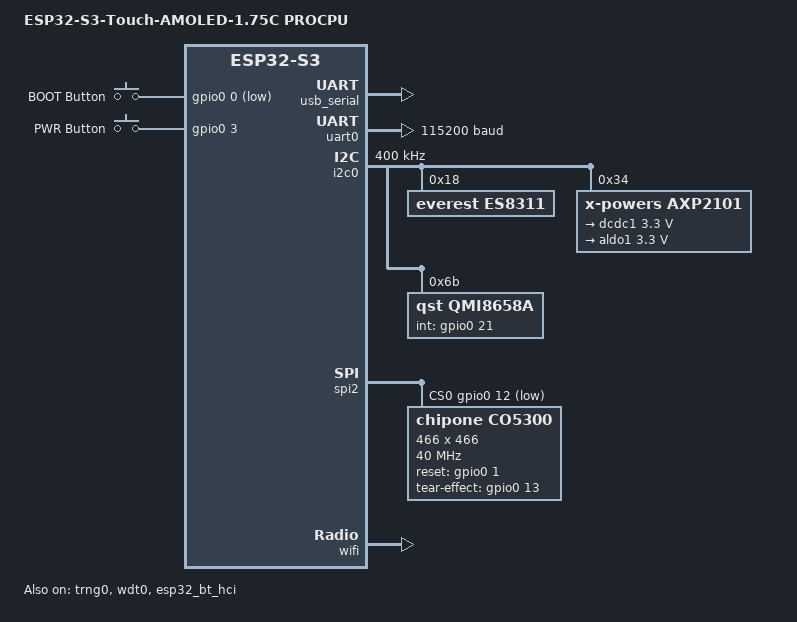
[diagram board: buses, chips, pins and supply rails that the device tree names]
/*
 * Copyright (c) 2026 Hassan Naeem
 * SPDX-License-Identifier: Apache-2.0
 */

/dts-v1/;
#include <espressif/esp32s3/esp32s3.dtsi>
#include "esp32s3_touch_amoled_1_75c-pinctrl.dtsi"
#include <zephyr/dt-bindings/display/panel.h>
#include <zephyr/dt-bindings/input/input-event-codes.h>
#include <espressif/partitions_0x0_amp_32M.dtsi>

/ {
	compatible = "waveshare,esp32-s3-touch-amoled-1.75c";
	model = "ESP32-S3-Touch-AMOLED-1.75C PROCPU";

	aliases {
		i2c-0 = &i2c0;
		sw0 = &button_boot;
		sw1 = &button_pwr;
		uart-0 = &uart0;
		watchdog0 = &wdt0;
		accel0 = &qmi8658a;
		fuel-gauge0 = &fuel_gauge;
	};

	chosen {
		zephyr,sram = &sram1;
		zephyr,console = &usb_serial;
		zephyr,shell-uart = &usb_serial;
		zephyr,flash = &flash0;
		zephyr,code-partition = &slot0_partition;
		zephyr,display = &co5300;
		zephyr,bt-hci = &esp32_bt_hci;
	};

	buttons {
		compatible = "gpio-keys";

		button_boot: button_boot {
			gpios = <&gpio0 0 (GPIO_PULL_UP | GPIO_ACTIVE_LOW)>;
			label = "BOOT Button";
			zephyr,code = <INPUT_KEY_0>;
		};

		/* The PWR key reaches GPIO3 through a BSS138, so it reads high while held. */
		button_pwr: button_pwr {
			gpios = <&gpio0 3 GPIO_ACTIVE_HIGH>;
			label = "PWR Button";
			zephyr,code = <INPUT_KEY_1>;
		};
	};
};

&flash0 {
	reg = <0x0 DT_SIZE_M(32)>;
	ranges = <0x0 0x0 DT_SIZE_M(32)>;
};

&psram0 {
	size = <DT_SIZE_M(8)>;
};

&gpio0 {
	status = "okay";
};

&gpio1 {
	status = "okay";
};

&usb_serial {
	status = "okay";
};

&uart0 {
	current-speed = <115200>;
	pinctrl-0 = <&uart0_default>;
	pinctrl-names = "default";
	status = "okay";
};

&i2c0 {
	clock-frequency = <I2C_BITRATE_FAST>;
	pinctrl-0 = <&i2c0_default>;
	pinctrl-names = "default";
	status = "okay";

	/* ES8311 mono codec driving the speaker */
	es8311: es8311@18 {
		compatible = "everest,es8311";
		reg = <0x18>;
	};

	/* AXP2101 PMU. Its IRQ line isn't wired to the ESP32-S3. */
	axp2101@34 {
		compatible = "x-powers,axp2101";
		reg = <0x34>;

		charger: charger {
			compatible = "x-powers,axp2101-charger";
			constant-charge-current-max-microamp = <300000>;
			constant-charge-voltage-max-microvolt = <4200000>;
			charge-term-current-microamp = <100000>;
		};

		regulators {
			compatible = "x-powers,axp2101-regulator";

			/* 3.3 V system rail: ESP32-S3, display and sensors */
			dcdc1 {
				regulator-min-microvolt = <3300000>;
				regulator-init-microvolt = <3300000>;
				regulator-max-microvolt = <3300000>;
				regulator-boot-on;
				regulator-always-on;
			};

			/* 3.3 V analog rail for the ES8311 and ES7210 */
			aldo1 {
				regulator-min-microvolt = <3300000>;
				regulator-init-microvolt = <3300000>;
				regulator-max-microvolt = <3300000>;
				regulator-boot-on;
			};
		};

		fuel_gauge: fuel_gauge {
			compatible = "x-powers,axp2101-fuel-gauge";
		};
	};

	qmi8658a: qmi8658a@6b {
		compatible = "qst,qmi8658a";
		reg = <0x6b>;
		int-gpios = <&gpio0 21 GPIO_ACTIVE_HIGH>;
		int-pin = <1>;
	};
};

&spi2 {
	#address-cells = <1>;
	#size-cells = <0>;
	pinctrl-0 = <&spim2_default>;
	pinctrl-names = "default";
	cs-gpios = <&gpio0 12 GPIO_ACTIVE_LOW>;
	status = "okay";

	/* 466x466 AMOLED, driven over single-line SPI on QSPI_SIO0 */
	co5300: co5300@0 {
		compatible = "chipone,co5300";
		reg = <0>;
		spi-max-frequency = <40000000>;
		pixel-format = <PANEL_PIXEL_FORMAT_RGB_565>;
		width = <466>;
		height = <466>;
		reset-gpios = <&gpio0 1 GPIO_ACTIVE_HIGH>;
		tear-effect-gpios = <&gpio0 13 GPIO_ACTIVE_HIGH>;
		status = "okay";
	};
};

&trng0 {
	status = "okay";
};

&wdt0 {
	status = "okay";
};

&esp32_bt_hci {
	status = "okay";
};

&wifi {
	status = "okay";
};
